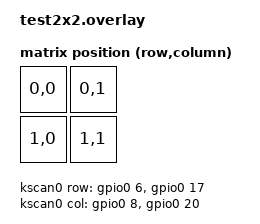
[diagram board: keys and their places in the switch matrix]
#include <dt-bindings/zmk/matrix_transform.h>

/ {
    chosen {
        zmk,kscan = &kscan0;
        zmk,matrix_transform = &default_transform;
    };

    default_transform: keymap_transform_0 {
        compatible = "zmk,matrix-transform";
        columns = <2>;
        rows = <2>;
        map = <
            RC(0,0) RC(0,1)
            RC(1,0) RC(1,1)
        >;
    };

    kscan0: kscan {
        compatible = "zmk,kscan-gpio-matrix";
        label = "KSCAN";
        diode-direction = "col2row";

        col-gpios
            = <&gpio0 8 GPIO_ACTIVE_HIGH>   /* D0 -> P0.08 */
            , <&gpio0 20 GPIO_ACTIVE_HIGH>  /* D3 -> P0.20 */
            ;
        row-gpios
            = <&gpio0 6 (GPIO_ACTIVE_HIGH | GPIO_PULL_DOWN)>  /* D1 -> P0.06 */
            , <&gpio0 17 (GPIO_ACTIVE_HIGH | GPIO_PULL_DOWN)> /* D2 -> P0.17 */
            ;
    };
};
